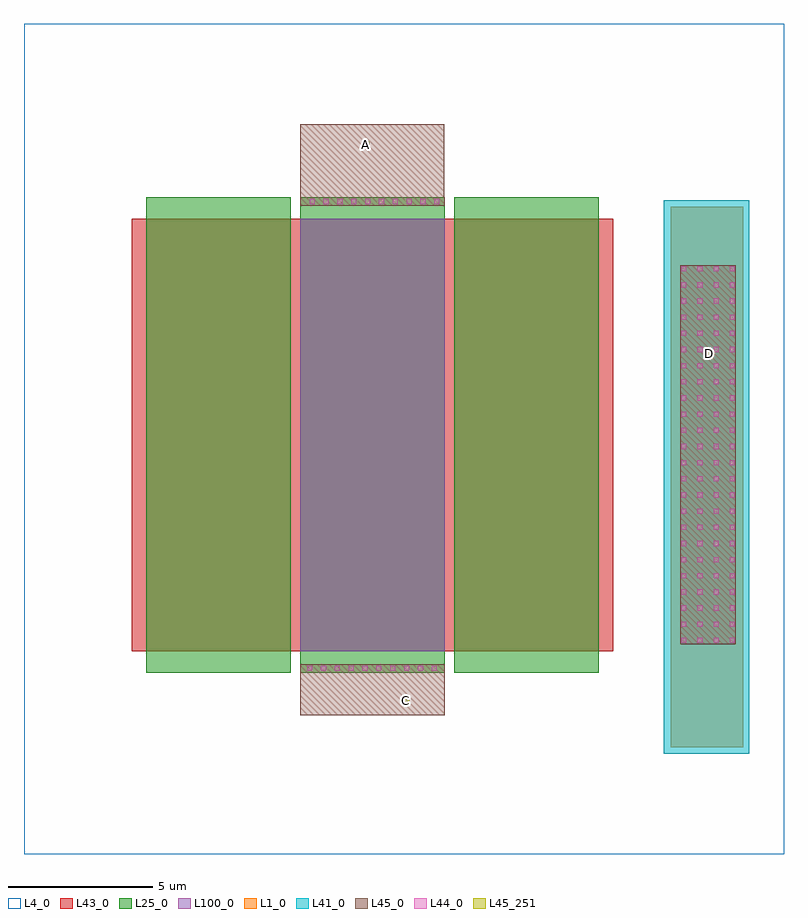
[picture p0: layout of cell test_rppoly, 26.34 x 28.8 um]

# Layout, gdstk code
import gdstk
lib = gdstk.Library(unit=1e-6, precision=1e-09)
def R(c, l, rs):  # rectangles x0, y0, x1, y1
    for r in rs: c.add(gdstk.rectangle(r[:2], r[2:], *l))
def A(c, l, x, y, w, h, nx, ny, dx, dy):  # array of equal rectangles
    R(c, l, [(x+i*dx, y+j*dy, x+i*dx+w, y+j*dy+h) for i in range(nx) for j in range(ny)])
L1_0 = (1, 0)
L4_0 = (4, 0)
L25_0 = (25, 0)
L41_0 = (41, 0)
L43_0 = (43, 0)
L44_0 = (44, 0)
L45_0 = (45, 0)
L45_251 = (45, 251)
L100_0 = (100, 0)

rppoly__3 = lib.new_cell('rppoly$$3')
R(rppoly__3, L4_0, [(-3.95,-9.37,13.23,8.01)])
A(rppoly__3, L25_0, -3.2, -8.92, 5, 16.48, 3, 1, 5.34, 0)
R(rppoly__3, L43_0, [(-3.7,-8.18,12.98,6.82)])
R(rppoly__3, L45_0, [(2.14,-8.92,7.14,-8.62), (2.2,-8.87,2.4,-8.67), (2.14,7.26,7.14,7.56), (2.23,7.31,2.43,7.51)])
R(rppoly__3, L100_0, [(2.14,-8.18,7.14,6.82)])

p2_m1__1 = lib.new_cell('P2_M1$$1')
R(p2_m1__1, L25_0, [(-2.31,-0.15,2.31,0.15)])
A(p2_m1__1, L44_0, -2.25, -0.09, 0.18, 0.18, 10, 1, 0.48, 0)
R(p2_m1__1, L45_0, [(-2.28,-0.13,2.28,0.13)])

diff_m1__2 = lib.new_cell('DIFF_M1$$2')
R(diff_m1__2, L1_0, [(-0.97,-6.57,0.97,6.57)])
A(diff_m1__2, L44_0, -0.93, -6.53, 0.18, 0.18, 4, 24, 0.56, 0.56)
R(diff_m1__2, L45_0, [(-0.96,-6.57,0.96,6.57)])

test_rppoly = lib.new_cell('test_rppoly')
R(test_rppoly, L1_0, [(24.02,5.34,26.53,24.08)])
R(test_rppoly, L4_0, [(1.61,1.63,27.95,30.43)])
R(test_rppoly, L41_0, [(23.79,5.12,26.75,24.31)])
R(test_rppoly, L45_0, [(11.19,6.45,16.19,8.22), (11.19,24.12,16.18,26.93)])
R(test_rppoly, L45_251, [(14.72,6.84,14.96,7.08), (25.26,18.86,25.5,19.1), (13.33,26.1,13.57,26.34)])
test_rppoly.add(gdstk.Reference(rppoly__3, (9.05,16.85)))
test_rppoly.add(gdstk.Reference(p2_m1__1, (13.67,8.08)))
test_rppoly.add(gdstk.Reference(p2_m1__1, (13.76,24.26)))
test_rppoly.add(gdstk.Reference(diff_m1__2, (25.32,15.49)))
test_rppoly.add(gdstk.Label('D', (25.38,18.98), layer=45, texttype=251))
test_rppoly.add(gdstk.Label('C', (14.84,6.96), layer=45, texttype=251))
test_rppoly.add(gdstk.Label('A', (13.45,26.22), layer=45, texttype=251))

lib.write_gds('test_rppoly.gds')
